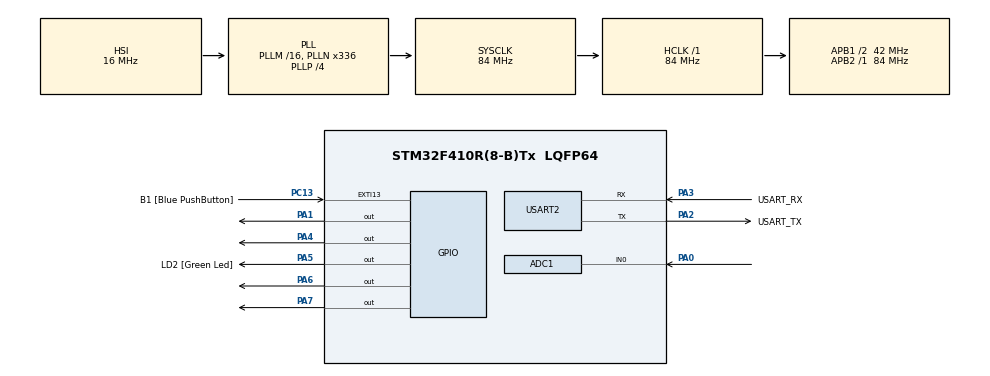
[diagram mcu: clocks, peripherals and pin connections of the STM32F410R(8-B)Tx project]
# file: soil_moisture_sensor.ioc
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ADC1.Channel-3\#ChannelRegularConversion=ADC_CHANNEL_0
ADC1.NbrOfConversionFlag=1
ADC1.Rank-3\#ChannelRegularConversion=1
ADC1.SamplingTime-3\#ChannelRegularConversion=ADC_SAMPLETIME_3CYCLES
ADC1.master=1
Mcu.Family=STM32F4
Mcu.Name=STM32F410R(8-B)Tx
Mcu.Package=LQFP64
NVIC.PriorityGroup=NVIC_PRIORITYGROUP_0
PA0-WKUP.Signal=ADCx_IN0
PA1.Signal=GPIO_Output
PA13.GPIO_Label=TMS
PA13.Mode=Serial_Wire
PA13.Signal=SYS_JTMS-SWDIO
PA14.GPIO_Label=TCK
PA14.Mode=Serial_Wire
PA14.Signal=SYS_JTCK-SWCLK
PA2.GPIO_Label=USART_TX
PA2.Mode=Asynchronous
PA2.Signal=USART2_TX
PA3.GPIO_Label=USART_RX
PA3.Mode=Asynchronous
PA3.Signal=USART2_RX
PA4.Signal=GPIO_Output
PA5.GPIO_Label=LD2 [Green Led]
PA5.Signal=GPIO_Output
PA6.Signal=GPIO_Output
PA7.Signal=GPIO_Output
PB3.GPIO_Label=SWO
PB3.Signal=SYS_JTDO-SWO
PC13-ANTI_TAMP.GPIO_Label=B1 [Blue PushButton]
PC13-ANTI_TAMP.GPIO_ModeDefaultEXTI=GPIO_MODE_IT_FALLING
PC13-ANTI_TAMP.Signal=GPXTI13
PC14-OSC32_IN.Mode=LSE-External-Oscillator
PC14-OSC32_IN.Signal=RCC_OSC32_IN
PC15-OSC32_OUT.Mode=LSE-External-Oscillator
PC15-OSC32_OUT.Signal=RCC_OSC32_OUT
PH0\ -\ OSC_IN.Mode=HSE-External-Clock-Source
PH0\ -\ OSC_IN.Signal=RCC_OSC_IN
PH1\ -\ OSC_OUT.Mode=HSE-External-Clock-Source
PH1\ -\ OSC_OUT.Signal=RCC_OSC_OUT
ProjectManager.HeapSize=0x200
ProjectManager.StackSize=0x400
ProjectManager.TargetToolchain=STM32CubeIDE
RCC.48MHZClocksFreq_Value=84000000
RCC.AHBFreq_Value=84000000
RCC.APB1CLKDivider=RCC_HCLK_DIV2
RCC.APB1Freq_Value=42000000
RCC.APB1TimFreq_Value=84000000
RCC.APB2Freq_Value=84000000
RCC.APB2TimFreq_Value=84000000
RCC.CortexFreq_Value=84000000
RCC.FLatency-AdvancedSettings=FLASH_LATENCY_2
RCC.HCLKFreq_Value=84000000
RCC.HSE_VALUE=8000000
RCC.HSI_VALUE=16000000
RCC.PLLN=336
RCC.PLLP=RCC_PLLP_DIV4
RCC.SYSCLKFreq_VALUE=84000000
RCC.SYSCLKSource=RCC_SYSCLKSOURCE_PLLCLK
RCC.VCOOutputFreq_Value=336000000
SH.ADCx_IN0.0=ADC1_IN0,IN0
USART2.VirtualMode=VM_ASYNC
board=NUCLEO-F410RB

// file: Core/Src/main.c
/* USER CODE BEGIN Header */
/**
  ******************************************************************************
  * @file           : main.c
  * @brief          : Main program body
  ******************************************************************************
  * @attention
  *
  * Copyright (c) 2022 STMicroelectronics.
  * All rights reserved.
  *
  * This software is licensed under terms that can be found in the LICENSE file
  * in the root directory of this software component.
  * If no LICENSE file comes with this software, it is provided AS-IS.
  *
  ******************************************************************************
  */
/* USER CODE END Header */
#include "main.h"

ADC_HandleTypeDef hadc1;

UART_HandleTypeDef huart2;

void SystemClock_Config(void);
static void MX_GPIO_Init(void);
static void MX_USART2_UART_Init(void);
static void MX_ADC1_Init(void);

/* USER CODE BEGIN 0 */
uint16_t readValue;
/* USER CODE END 0 */

int main(void)
{

  /* MCU Configuration--------------------------------------------------------*/

  /* Reset of all peripherals, Initializes the Flash interface and the Systick. */
  HAL_Init();

  /* Configure the system clock */
  SystemClock_Config();

  /* Initialize all configured peripherals */
  MX_GPIO_Init();
  MX_USART2_UART_Init();
  MX_ADC1_Init();
  /* USER CODE BEGIN 2 */
  HAL_ADC_Start(&hadc1);
  /* USER CODE END 2 */

  /* Infinite loop */
  while (1)
  {

    /* USER CODE BEGIN 3 */

	  /* for debugging purpose: to check if code is running on the device */
	  HAL_GPIO_TogglePin(LD2_GPIO_Port, LD2_Pin);
	  HAL_Delay(1000);

//	  HAL_GPIO_WritePin(GPIOA, GPIO_PIN_6, 1);
//	  HAL_Delay(1000);
//	  HAL_GPIO_WritePin(GPIOA, GPIO_PIN_6, 0);
	  readValue =0;
	  HAL_ADC_PollForConversion(&hadc1,1000);

	  	  readValue = HAL_ADC_GetValue(&hadc1);
		  //Print("%i", readValue);
	  	  if (readValue > 2300) {
			  HAL_GPIO_WritePin(GPIOA, GPIO_PIN_7, 1);
			  HAL_GPIO_WritePin(GPIOA, GPIO_PIN_6, 0);
			  HAL_GPIO_WritePin(GPIOA, GPIO_PIN_4, 0);
			  HAL_GPIO_WritePin(GPIOA, GPIO_PIN_1, 0);
		  }
		  else if (readValue > 1800 ) {
			  HAL_GPIO_WritePin(GPIOA, GPIO_PIN_7, 0);
			  HAL_GPIO_WritePin(GPIOA, GPIO_PIN_6, 1);
			  HAL_GPIO_WritePin(GPIOA, GPIO_PIN_4, 0);
			  HAL_GPIO_WritePin(GPIOA, GPIO_PIN_1, 0);
		  }
		  else if (readValue > 1500) {
			  HAL_GPIO_WritePin(GPIOA, GPIO_PIN_7, 0);
			  HAL_GPIO_WritePin(GPIOA, GPIO_PIN_6, 0);
			  HAL_GPIO_WritePin(GPIOA, GPIO_PIN_4, 1);
			  HAL_GPIO_WritePin(GPIOA, GPIO_PIN_1, 0);
		  }
		  else {
			  HAL_GPIO_WritePin(GPIOA, GPIO_PIN_7, 0);
			  HAL_GPIO_WritePin(GPIOA, GPIO_PIN_6, 0);
			  HAL_GPIO_WritePin(GPIOA, GPIO_PIN_4, 0);
			  HAL_GPIO_WritePin(GPIOA, GPIO_PIN_1, 1);
		  }
		  HAL_Delay(500);
  }
  /* USER CODE END 3 */
}

void SystemClock_Config(void)
{
  RCC_OscInitTypeDef RCC_OscInitStruct = {0};
  RCC_ClkInitTypeDef RCC_ClkInitStruct = {0};

  /** Configure the main internal regulator output voltage
  */
  __HAL_RCC_PWR_CLK_ENABLE();
  __HAL_PWR_VOLTAGESCALING_CONFIG(PWR_REGULATOR_VOLTAGE_SCALE1);
  /** Initializes the RCC Oscillators according to the specified parameters
  * in the RCC_OscInitTypeDef structure.
  */
  RCC_OscInitStruct.OscillatorType = RCC_OSCILLATORTYPE_HSI;
  RCC_OscInitStruct.HSIState = RCC_HSI_ON;
  RCC_OscInitStruct.HSICalibrationValue = RCC_HSICALIBRATION_DEFAULT;
  RCC_OscInitStruct.PLL.PLLState = RCC_PLL_ON;
  RCC_OscInitStruct.PLL.PLLSource = RCC_PLLSOURCE_HSI;
  RCC_OscInitStruct.PLL.PLLM = 16;
  RCC_OscInitStruct.PLL.PLLN = 336;
  RCC_OscInitStruct.PLL.PLLP = RCC_PLLP_DIV4;
  RCC_OscInitStruct.PLL.PLLQ = 4;
  RCC_OscInitStruct.PLL.PLLR = 2;
  if (HAL_RCC_OscConfig(&RCC_OscInitStruct) != HAL_OK)
  {
    Error_Handler();
  }
  /** Initializes the CPU, AHB and APB buses clocks
  */
  RCC_ClkInitStruct.ClockType = RCC_CLOCKTYPE_HCLK|RCC_CLOCKTYPE_SYSCLK
                              |RCC_CLOCKTYPE_PCLK1|RCC_CLOCKTYPE_PCLK2;
  RCC_ClkInitStruct.SYSCLKSource = RCC_SYSCLKSOURCE_PLLCLK;
  RCC_ClkInitStruct.AHBCLKDivider = RCC_SYSCLK_DIV1;
  RCC_ClkInitStruct.APB1CLKDivider = RCC_HCLK_DIV2;
  RCC_ClkInitStruct.APB2CLKDivider = RCC_HCLK_DIV1;

  if (HAL_RCC_ClockConfig(&RCC_ClkInitStruct, FLASH_LATENCY_2) != HAL_OK)
  {
    Error_Handler();
  }
}

static void MX_ADC1_Init(void)
{

  ADC_ChannelConfTypeDef sConfig = {0};

  /** Configure the global features of the ADC (Clock, Resolution, Data Alignment and number of conversion)
  */
  hadc1.Instance = ADC1;
  hadc1.Init.ClockPrescaler = ADC_CLOCK_SYNC_PCLK_DIV4;
  hadc1.Init.Resolution = ADC_RESOLUTION_12B;
  hadc1.Init.ScanConvMode = DISABLE;
  hadc1.Init.ContinuousConvMode = DISABLE;
  hadc1.Init.DiscontinuousConvMode = DISABLE;
  hadc1.Init.ExternalTrigConvEdge = ADC_EXTERNALTRIGCONVEDGE_NONE;
  hadc1.Init.ExternalTrigConv = ADC_SOFTWARE_START;
  hadc1.Init.DataAlign = ADC_DATAALIGN_RIGHT;
  hadc1.Init.NbrOfConversion = 1;
  hadc1.Init.DMAContinuousRequests = DISABLE;
  hadc1.Init.EOCSelection = ADC_EOC_SINGLE_CONV;
  if (HAL_ADC_Init(&hadc1) != HAL_OK)
  {
    Error_Handler();
  }
  /** Configure for the selected ADC regular channel its corresponding rank in the sequencer and its sample time.
  */
  sConfig.Channel = ADC_CHANNEL_0;
  sConfig.Rank = 1;
  sConfig.SamplingTime = ADC_SAMPLETIME_3CYCLES;
  if (HAL_ADC_ConfigChannel(&hadc1, &sConfig) != HAL_OK)
  {
    Error_Handler();
  }

}

static void MX_USART2_UART_Init(void)
{

  huart2.Instance = USART2;
  huart2.Init.BaudRate = 115200;
  huart2.Init.WordLength = UART_WORDLENGTH_8B;
  huart2.Init.StopBits = UART_STOPBITS_1;
  huart2.Init.Parity = UART_PARITY_NONE;
  huart2.Init.Mode = UART_MODE_TX_RX;
  huart2.Init.HwFlowCtl = UART_HWCONTROL_NONE;
  huart2.Init.OverSampling = UART_OVERSAMPLING_16;
  if (HAL_UART_Init(&huart2) != HAL_OK)
  {
    Error_Handler();
  }

}

static void MX_GPIO_Init(void)
{
  GPIO_InitTypeDef GPIO_InitStruct = {0};

  /* GPIO Ports Clock Enable */
  __HAL_RCC_GPIOC_CLK_ENABLE();
  __HAL_RCC_GPIOH_CLK_ENABLE();
  __HAL_RCC_GPIOA_CLK_ENABLE();
  __HAL_RCC_GPIOB_CLK_ENABLE();

  /*Configure GPIO pin Output Level */
  HAL_GPIO_WritePin(GPIOA, GPIO_PIN_1|GPIO_PIN_4|LD2_Pin|GPIO_PIN_6
                          |GPIO_PIN_7, GPIO_PIN_RESET);

  /*Configure GPIO pin : B1_Pin */
  GPIO_InitStruct.Pin = B1_Pin;
  GPIO_InitStruct.Mode = GPIO_MODE_IT_FALLING;
  GPIO_InitStruct.Pull = GPIO_NOPULL;
  HAL_GPIO_Init(B1_GPIO_Port, &GPIO_InitStruct);

  /*Configure GPIO pins : PA1 PA4 LD2_Pin PA6
                           PA7 */
  GPIO_InitStruct.Pin = GPIO_PIN_1|GPIO_PIN_4|LD2_Pin|GPIO_PIN_6
                          |GPIO_PIN_7;
  GPIO_InitStruct.Mode = GPIO_MODE_OUTPUT_PP;
  GPIO_InitStruct.Pull = GPIO_NOPULL;
  GPIO_InitStruct.Speed = GPIO_SPEED_FREQ_LOW;
  HAL_GPIO_Init(GPIOA, &GPIO_InitStruct);

}

void Error_Handler(void)
{
  __disable_irq();
  while (1)
  {
  }
}
